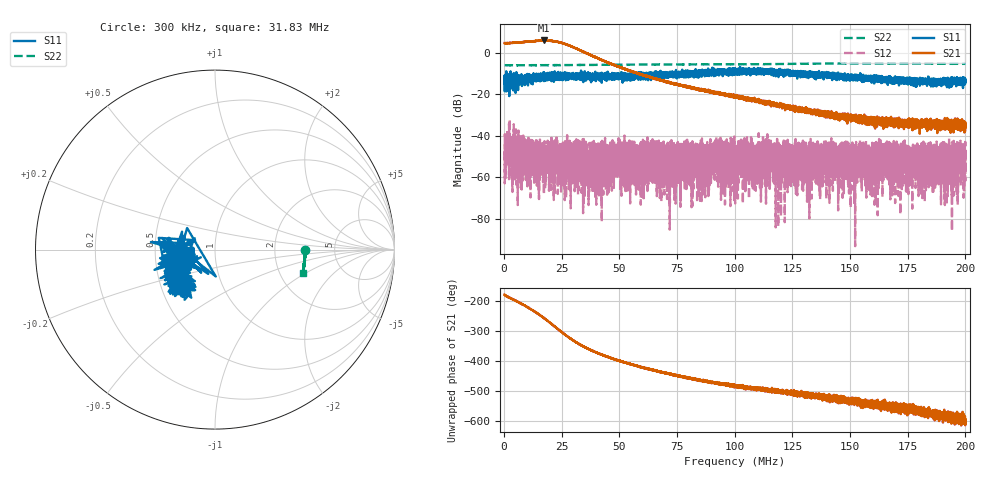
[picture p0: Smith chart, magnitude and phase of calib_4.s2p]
# Hz S DB R 50
! CMT, M5065, 19127446, 24.2.4/2
! Date: 11/8/2024 3:35:00 PM
! Data: Format (Calibration Info)
! Freq	S11:dB/Ang(F2)	S21:dB/Ang(F2)	S12:dB/Ang(F2)	S22:dB/Ang(F2)
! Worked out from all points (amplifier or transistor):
!   9000 points, 300 kHz to 200 MHz, reference 50 ohm
!   highest |S21| = 5.9 dB at 17.39 MHz (marker M1)
!   |S21| within 3 dB of that: start of sweep to 29.48 MHz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
!   unconditionally stable (mu >= 1): start of sweep to end of sweep
!   at 33.59 MHz: K = 94.40, MAG = 2.6 dB, |S12| = -49.7 dB
!   at 100.2 MHz: K = 1004.52, MAG = -19.2 dB, |S12| = -49.0 dB
!   at 200 MHz: K = 5981.63, MAG = -32.0 dB, |S12| = -51.3 dB
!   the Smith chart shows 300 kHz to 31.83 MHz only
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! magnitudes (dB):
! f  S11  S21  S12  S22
! 300 kHz  -15.0  4.7  -47.5  -6.0
! 17.39 MHz  -9.5  5.9  -47.4  -6.0
! 33.59 MHz  -11.4  0.9  -49.7  -5.9
! 36.61 MHz  -12.5  -0.7  -69.1  -5.9
! 38.03 MHz  -10.8  -1.3  -51.4  -5.8
! 41.78 MHz  -10.2  -3.1  -46.5  -5.8
! 48.79 MHz  -12.2  -6.4  -48.7  -5.8
! 52.83 MHz  -11.7  -8.0  -47.3  -5.8
! 63.48 MHz  -11.1  -11.8  -45.9  -5.7
! 66.87 MHz  -11.5  -13.1  -49.8  -5.7
! 71.69 MHz  -11.1  -14.3  -60.7  -5.6
! 79.43 MHz  -9.2  -16.7  -44.2  -5.6
! 88.27 MHz  -8.3  -18.0  -48.9  -5.6
! 100.2 MHz  -8.3  -21.3  -49.0  -5.6
! 102.5 MHz  -8.4  -21.6  -51.4  -5.5
! 109.4 MHz  -9.0  -23.8  -45.4  -5.5
! 133.4 MHz  -10.6  -28.1  -52.6  -5.3
! 145.9 MHz  -11.1  -29.8  -50.1  -5.2
! 147.9 MHz  -13.0  -30.8  -43.9  -5.2
! 159.1 MHz  -11.6  -32.2  -59.5  -5.2
! 166.7 MHz  -13.2  -32.6  -44.3  -5.2
! 200 MHz  -12.9  -33.7  -51.3  -5.4
